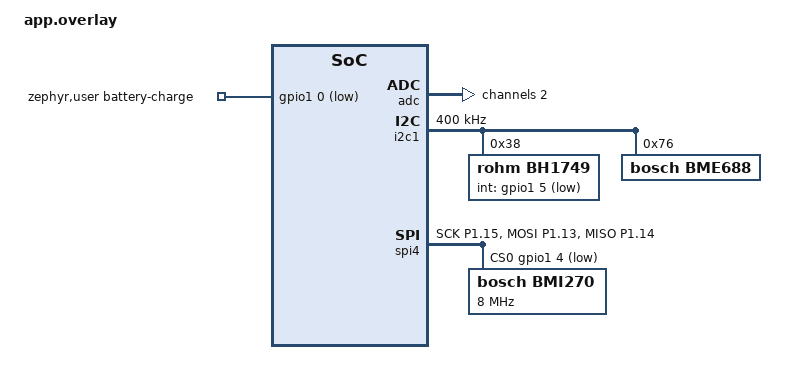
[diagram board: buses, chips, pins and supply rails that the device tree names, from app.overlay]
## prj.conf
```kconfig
#
# Copyright (c) 2020 Nordic Semiconductor
#
# SPDX-License-Identifier: LicenseRef-Nordic-5-Clause
#

#App
CONFIG_APP_BATTERY=y
CONFIG_APP_LED=y
CONFIG_APP_OT=y
CONFIG_JSON_ENDPOINT=y
CONFIG_UDP_BROADCAST=y

#Persist BSEC2 state on flash
CONFIG_APP_FLASH=y
CONFIG_FLASH=y
CONFIG_MPU_ALLOW_FLASH_WRITE=y
CONFIG_FLASH_PAGE_LAYOUT=y
CONFIG_SOC_FLASH_NRF_EMULATE_ONE_BYTE_WRITE_ACCESS=y

#App dependencies
CONFIG_PWM=y
CONFIG_GPIO=y
CONFIG_ADC=y

#Light Sensor
CONFIG_I2C=y
CONFIG_SENSOR=y
CONFIG_BH1749=y
CONFIG_BME688=y
CONFIG_BME688_SERVER=y
CONFIG_BME688_BSEC2=y
CONFIG_BMI270=y

# --------- OpenThread ------------
CONFIG_OPENTHREAD_NORDIC_LIBRARY_MASTER=y
CONFIG_NETWORKING=y
CONFIG_NET_L2_OPENTHREAD=y

# --------- OpenThread Device ------------
CONFIG_OPENTHREAD_NORDIC_LIBRARY_FTD=y
CONFIG_OPENTHREAD_FTD=y
CONFIG_OPENTHREAD_MTD=n
CONFIG_OPENTHREAD_MANUAL_START=n
CONFIG_OPENTHREAD_DEFAULT_TX_POWER=8

# --------- OpenThread Joiner ------------
CONFIG_OPENTHREAD_JOINER=y
CONFIG_OPENTHREAD_JOINER_AUTOSTART=y
CONFIG_OPENTHREAD_JOINER_PSKD="ABCDE2"
CONFIG_OPENTHREAD_SLAAC=y
# --------- ------------ ------------

# Sockets needed for UDP communication
CONFIG_NET_SOCKETS=y
CONFIG_NET_SOCKETS_POLL_MAX=5
CONFIG_NET_SOCKETS_POSIX_NAMES=y

CONFIG_NET_IPV6=y
CONFIG_NET_CONFIG_NEED_IPV6=y

# Use nrf_security
#CONFIG_OPENTHREAD_NRF_SECURITY_CHOICE=y

CONFIG_MBEDTLS_SHA1_C=n
CONFIG_FPU=y

# Default PRNG entropy for nRF53 Series devices is CSPRNG CC312
# which for that purpose is too slow yet
# Use Xoroshiro128+ as PRNG
CONFIG_XOROSHIRO_RANDOM_GENERATOR=y

#C++
CONFIG_CPLUSPLUS=y
CONFIG_LIB_CPLUSPLUS=y

CONFIG_EXCEPTIONS=y
CONFIG_NEWLIB_LIBC=y
CONFIG_NEWLIB_LIBC_NANO=n

#for future 3.3 
#CONFIG_CPP_EXCEPTIONS=y
#CONFIG_CPP=y
#CONFIG_LIBCPP_IMPLEMENTATION=y

CONFIG_STD_CPP11=n
CONFIG_STD_CPP17=y

#Stack
CONFIG_MAIN_STACK_SIZE=8192

#safe silence of ABI change warning as using gcc > 7 https://github.com/nlohmann/json/issues/1861
CONFIG_COMPILER_OPT="-Wno-psabi"

#print float
CONFIG_NEWLIB_LIBC_FLOAT_PRINTF=y
```

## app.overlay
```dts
/* SPDX-License-Identifier: LicenseRef-Nordic-5-Clause */
#include <dt-bindings/gpio/gpio.h>
#include <dt-bindings/spi/spi.h>
#include <dt-bindings/pinctrl/nrf-pinctrl.h>

/ {
    aliases {
        battery-charge = &battery_charge_gpio;
    };

    /* GPIO utilisateur pour la détection de charge de la batterie */
    zephyr,user {
        battery-charge-gpios = <&gpio1 0 (GPIO_PULL_UP | GPIO_ACTIVE_LOW)>;
    };

    /* Définition simple du GPIO pour la détection de charge de la batterie */
    battery_charge_gpio: battery-charge-gpio {
        compatible = "gpio-leds";
        gpios = <&gpio1 0 (GPIO_PULL_UP | GPIO_ACTIVE_LOW)>;
        label = "Battery charge detection";
    };
};

/* Configuration de l'ADC */
&adc {
    #address-cells = <1>;
    #size-cells = <0>;
    channel@2 {
        reg = <2>;
        zephyr,gain = "ADC_GAIN_1";
        zephyr,reference = "ADC_REF_INTERNAL";
        zephyr,acquisition-time = <40>; /* Temps d'acquisition en microsecondes */
        zephyr,input-positive = <2>;    /* NRF_SAADC_AIN2 */
        zephyr,resolution = <12>;
        zephyr,oversampling = <4>;
    };
};

/* Bus I2C avec les capteurs BH1749 et BME688 */
&i2c1 {
    status = "okay";
    clock-frequency = <I2C_BITRATE_FAST>;
    
    bh1749@38 {
        compatible = "rohm,bh1749";
        reg = <0x38>;
        int-gpios = <&gpio1 5 (GPIO_PULL_UP | GPIO_ACTIVE_LOW)>;
    };
    
    bme688@76 {
        compatible = "bosch,bme688";
        reg = <0x76>;
    };
};

/* Configuration Pinctrl pour SPI4 */
&pinctrl {
    spi4_default: spi4_default {
        group1 {
            psels = <NRF_PSEL(SPIM_SCK, 1, 15)>,
                    <NRF_PSEL(SPIM_MOSI, 1, 13)>,
                    <NRF_PSEL(SPIM_MISO, 1, 14)>;
        };
    };
    
    spi4_sleep: spi4_sleep {
        group1 {
            psels = <NRF_PSEL(SPIM_SCK, 1, 15)>,
                    <NRF_PSEL(SPIM_MOSI, 1, 13)>,
                    <NRF_PSEL(SPIM_MISO, 1, 14)>;
            low-power-enable;
        };
    };
};

/* Configuration SPI4 avec BMI270 */
&spi4 {
    compatible = "nordic,nrf-spim";
    status = "okay";
    pinctrl-0 = <&spi4_default>;
    pinctrl-1 = <&spi4_sleep>;
    pinctrl-names = "default", "sleep";
    cs-gpios = <&gpio1 4 GPIO_ACTIVE_LOW>;
    
    /* Workaround pour spi_fwd si nécessaire */
    spi_fwd: spi_fwd@0 {
        status = "disabled";
        reg = <0>;
    };
    
    bmi270@0 {
        compatible = "bosch,bmi270";
        reg = <0>;
        status = "okay";
        spi-max-frequency = <8000000>;
        /* Décommentez si vous utilisez la broche INT :
         * int-gpios = <&gpio1 6 (GPIO_PULL_UP | GPIO_ACTIVE_LOW)>;
         */
    };
};
```

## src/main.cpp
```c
/*
 * Copyright (c) 2020 Nordic Semiconductor ASA
 *
 * SPDX-License-Identifier: LicenseRef-Nordic-5-Clause
 */
#include <zephyr/drivers/sensor.h>

#include <zephyr/kernel.h>
#include <zephyr/logging/log.h>
#include <stdio.h>
#include "json_endpoint.h"
#include "app_ot.h"
#include "app_led.h"
#include "app_battery.h"
#include "udp_broadcast.h"
#include <json.hpp>
#include <zephyr/device.h>
#include <zephyr/drivers/sensor.h>
#include "bme688_server.h"


using json = nlohmann::json;

LOG_MODULE_REGISTER(sensor_server_sample, CONFIG_SONSORS_SERVER_LOG_LEVEL);

#define LED_PWM_RATIO 0.5
#define SLEEP_DELAY_SEC 20

const struct device *sensor_dev_bh1749;
const struct device *sensor_dev_bme688;
const struct device *sensor_dev_bmi270;

char uid_text[20];


void init_uid(char*text){
	long unsigned int id0 = NRF_FICR->INFO.DEVICEID[0];//just for type casting and readable printing
	long unsigned int id1 = NRF_FICR->INFO.DEVICEID[1];
	sprintf(text,"%08lX%08lX",id0,id1);
	LOG_INF("Device ID:%s",text);
}

void send_data(std::string topic,json &data){
	std::string message = topic+data.dump();
	send_udp(message);
	LOG_INF("send_data> %s",message.c_str());
}

void app_bh1749_init(){
	sensor_dev_bh1749 = DEVICE_DT_GET_ONE(rohm_bh1749);
	if (!device_is_ready(sensor_dev_bh1749)) {
		printk("Sensor device bh1749 not ready\n");
		return;
	}
}

void app_bmi270_init() {
    sensor_dev_bmi270 = DEVICE_DT_GET_ONE(bosch_bmi270);
    if (!device_is_ready(sensor_dev_bmi270)) {
        printk("Sensor device bmi270 not ready\n");
        return;
    }
}

void bh1749_get_values(int32_t &r,int32_t &g,int32_t &b,int32_t &ir){
	int ret;
	struct sensor_value temp_val;
	ret = sensor_sample_fetch_chan(sensor_dev_bh1749, SENSOR_CHAN_ALL);
	/* The sensor does only support fetching SENSOR_CHAN_ALL */
	if (ret) {
		printk("sensor_sample_fetch failed ret %d\n", ret);
		return;
	}

	ret = sensor_channel_get(sensor_dev_bh1749, SENSOR_CHAN_RED, &temp_val);
	if (ret) {
		printk("sensor_channel_get failed ret %d\n", ret);
		return;
	}
	r = temp_val.val1;
	ret = sensor_channel_get(sensor_dev_bh1749, SENSOR_CHAN_GREEN, &temp_val);
	if (ret) {
		printk("sensor_channel_get failed ret %d\n", ret);
		return;
	}
	g = temp_val.val1;

	ret = sensor_channel_get(sensor_dev_bh1749, SENSOR_CHAN_BLUE, &temp_val);
	if (ret) {
		printk("sensor_channel_get failed ret %d\n", ret);
		return;
	}
	b = temp_val.val1;

	ret = sensor_channel_get(sensor_dev_bh1749, SENSOR_CHAN_IR, &temp_val);
	if (ret) {
		printk("sensor_channel_get failed ret %d\n", ret);
		return;
	}
	ir = temp_val.val1;
}

void bmi270_get_values(int32_t &accel_x, int32_t &accel_y, int32_t &accel_z,
                       int32_t &gyro_x, int32_t &gyro_y, int32_t &gyro_z) {
    int ret;
    struct sensor_value accel[3], gyro[3];

    ret = sensor_sample_fetch(sensor_dev_bmi270);
    if (ret) {
        printk("sensor_sample_fetch failed ret %d\n", ret);
        return;
    }

    ret = sensor_channel_get(sensor_dev_bmi270, SENSOR_CHAN_ACCEL_XYZ, accel);
    if (ret) {
        printk("sensor_channel_get accel failed ret %d\n", ret);
        return;
    }
    accel_x = accel[0].val1;
    accel_y = accel[1].val1;
    accel_z = accel[2].val1;

    ret = sensor_channel_get(sensor_dev_bmi270, SENSOR_CHAN_GYRO_XYZ, gyro);
    if (ret) {
        printk("sensor_channel_get gyro failed ret %d\n", ret);
        return;
    }
    gyro_x = gyro[0].val1;
    gyro_y = gyro[1].val1;
    gyro_z = gyro[2].val1;
}


void json_endpoint_handler(std::string &client, std::string &topic, json &request, json &response){
	LOG_INF("json_endpoint_handler()");
	response = request;
	response["result"] = "OK";
}


void bme688_handler(json &data){
	static int subsample_count = 0;
	subsample_count++;
	if((subsample_count%10) == 0){
		std::string topic = "thread_tags/"+std::string(uid_text)+"/env";
		send_data(topic.c_str(),data);
	}
}

void led_notify_ot_role(){
		otDeviceRole role = ot_app_role();
		if(role == OT_DEVICE_ROLE_DISABLED){
			app_led_blink_red(LED_PWM_RATIO,300,900);
			app_led_blink_red(LED_PWM_RATIO,300,900);
			app_led_blink_red(LED_PWM_RATIO,300,900);
			LOG_INF("role: Disabled");
		}else if(role == OT_DEVICE_ROLE_DETACHED){
			app_led_blink_blue(LED_PWM_RATIO,300,600);
			app_led_blink_blue(LED_PWM_RATIO,300,600);
			LOG_INF("role: Detached");
		}else if(role == OT_DEVICE_ROLE_CHILD){
			app_led_blink_green(LED_PWM_RATIO,400,600);
			LOG_INF("role: Child");
		}else if(role == OT_DEVICE_ROLE_ROUTER){
			app_led_blink_color(0.01,0.89,0.87,400,600);//#03E2DD
			LOG_INF("role: Router");
		}else if(role == OT_DEVICE_ROLE_LEADER){
			app_led_blink_color(0.49,0.46,0.97,400,600);//#7E77F8
			LOG_INF("role: Leader");
		}else{
			app_led_blink_red(LED_PWM_RATIO,100,100);
			app_led_blink_red(LED_PWM_RATIO,100,100);
			app_led_blink_red(LED_PWM_RATIO,100,100);
			LOG_INF("role: Unknown");
		}
}

int main(void)
{
	LOG_INF(R"(
	main(1)
	sensors server sample
	)");

	init_uid(uid_text);
	app_ot_init();//logs joiner info and initializes reset buttons
	app_led_init();
	app_battery_init();
	app_bh1749_init();
	app_bmi270_init();
	set_endpoint_handler(json_endpoint_handler);
	start_bme688(bme688_handler);

	app_led_blink_red(LED_PWM_RATIO,300,100);
	app_led_blink_blue(LED_PWM_RATIO,300,100);
	app_led_blink_green(LED_PWM_RATIO,300,100);

	int count = 0;
	std::string topic;
	while(1){
		json data;
		
		//state
		data["alive"] = count++;
		char voltage[10];
		app_battery_voltage_text(voltage);
		bool is_charging = app_battery_charging();
		data["voltage"] = voltage;
		data["charging"] = is_charging;
		topic = "thread_tags/"+std::string(uid_text)+"/state";
		send_data(topic.c_str(),data);
		data = {};
		k_sleep(K_MSEC(5000));

		//light
		int32_t r,g,b,ir;
		bh1749_get_values(r,g,b,ir);
		data["light_red"] = r;
		data["light_green"] = g;
		data["light_blue"] = b;
		data["light_ir"] = ir;
		topic = "thread_tags/"+std::string(uid_text)+"/light";
		send_data(topic.c_str(),data);
		data = {};

		led_notify_ot_role();
		k_sleep(K_MSEC(SLEEP_DELAY_SEC*1000));

		int32_t accel_x, accel_y, accel_z, gyro_x, gyro_y, gyro_z;
		bmi270_get_values(accel_x, accel_y, accel_z, gyro_x, gyro_y, gyro_z);
		data["accel_x"] = accel_x;
		data["accel_y"] = accel_y;
		data["accel_z"] = accel_z;
		data["gyro_x"] = gyro_x;
		data["gyro_y"] = gyro_y;
		data["gyro_z"] = gyro_z;
		topic = "thread_tags/"+std::string(uid_text)+"/imu";
		send_data(topic.c_str(), data);
		data = {};
	}
}
```
